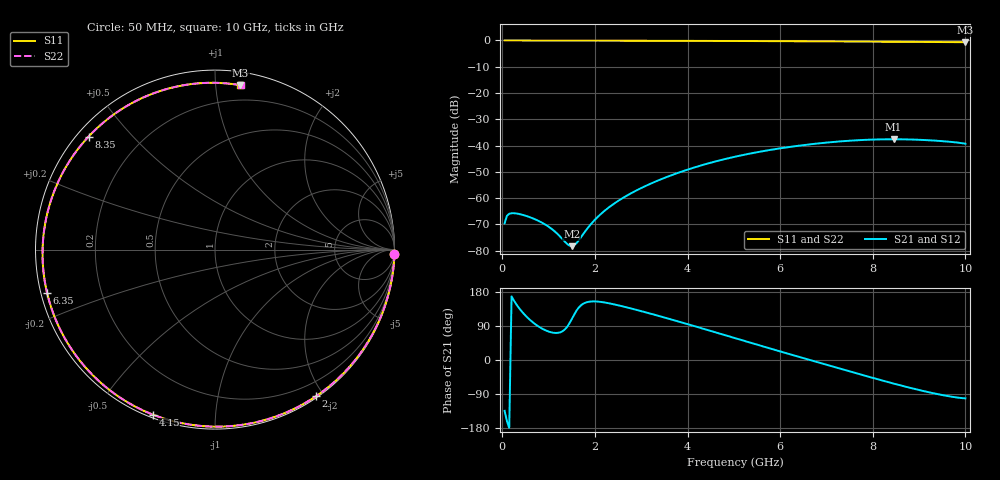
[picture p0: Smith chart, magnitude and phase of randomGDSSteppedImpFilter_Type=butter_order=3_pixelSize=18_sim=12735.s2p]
! freq	dB(S11)	phase(S11)	dB(S12)	phase(S12)
!  dB(S21)	phase(S21)	dB(S22)	phase(S22)
!S-par simulation data
#  GHz  S  DB  R 50
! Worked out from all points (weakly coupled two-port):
!   200 points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, 50 MHz to 10 GHz, reference 50 ohm
!   highest |S21| = -37.60 dB at 8.45 GHz (marker M1); lowest = -78.3 dB at 1.5 GHz (marker M2)
!   lowest |S11| = -0.7 dB at 10 GHz (marker M3), VSWR 26.36, Z = 4.47 + j58.1 ohm
!   |S11| at or under -10 dB: nowhere
!   |S22| runs from -0.7 to 0.0 dB; largest |S21 - S12| = 0
!   S11 on the Smith chart (normalised r, x): 50 MHz: 0, -80; 2 GHz: 0.02, -1.90; 4.15 GHz: 0.01, -0.69; 6.35 GHz: 0.02, -0.13; 8.35 GHz: 0.03, +0.38; 10 GHz: 0.09, +1.16
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0.05  -0.00 -1.4  -69.61 -134.0  -69.61 -134.0  -0.00 -1.4
0.1  -0.00 -2.9  -66.74 -161.3  -66.74 -161.3  -0.00 -2.9
0.15  -0.00 -4.3  -65.98 -178.9  -65.98 -178.9  -0.00 -4.3
0.55  -0.02 -15.6  -66.98 111.3  -66.98 111.3  -0.02 -15.6
1  -0.04 -28.2  -70.88 75.1  -70.88 75.1  -0.04 -28.2
1.4  -0.05 -39.2  -77.44 87.4  -77.44 87.4  -0.05 -39.3
1.5  -0.05 -42.0  -78.30 108.0  -78.30 108.0  -0.05 -42.0
1.6  -0.06 -44.7  -77.19 130.0  -77.19 130.0  -0.06 -44.7
1.75  -0.06 -48.8  -73.61 148.6  -73.61 148.6  -0.06 -48.8
2  -0.07 -55.5  -68.23 154.6  -68.23 154.6  -0.07 -55.5
2.6  -0.09 -71.4  -59.98 141.5  -59.98 141.5  -0.09 -71.4
3.4  -0.12 -91.9  -53.03 115.6  -53.03 115.6  -0.12 -92.0
4.15  -0.15 -110.7  -48.32 89.4  -48.32 89.4  -0.15 -110.7
5.05  -0.20 -132.9  -44.15 56.8  -44.15 56.8  -0.20 -132.9
5.7  -0.25 -149.0  -41.92 33.3  -41.92 33.3  -0.25 -149.0
6.35  -0.30 -165.4  -40.18 10.3  -40.18 10.3  -0.30 -165.5
6.7  -0.33 -174.6  -39.43 -2.0  -39.43 -2.0  -0.33 -174.6
7.55  -0.41 162.2  -38.10 -31.7  -38.10 -31.7  -0.41 162.1
8.35  -0.49 138.2  -37.61 -58.9  -37.61 -58.9  -0.49 138.2
8.45  -0.50 135.1  -37.60 -62.2  -37.60 -62.2  -0.50 135.0
9.3  -0.59 106.7  -38.07 -87.5  -38.07 -87.5  -0.59 106.6
10  -0.66 81.2  -39.30 -101.3  -39.30 -101.3  -0.66 81.2
